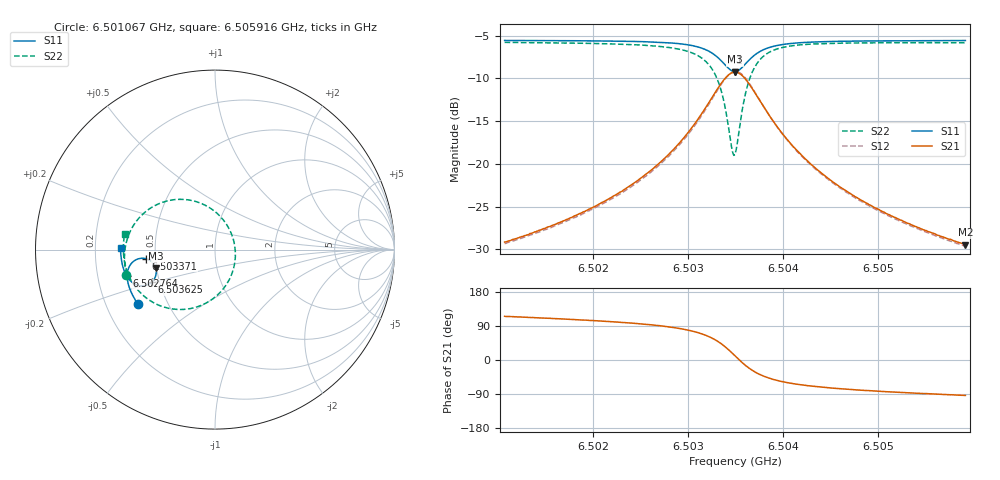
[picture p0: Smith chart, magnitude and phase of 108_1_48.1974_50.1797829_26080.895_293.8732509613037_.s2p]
#  HZ  S  RI  R  50.00
! Rohde & Schwarz Vector Network Analyzer
! Rohde-Schwarz,ZNB20-2Port,1311601062101988,3.16
! Created: UTC 3/20/2024, 11:40:52 AM
! freq[Hz]  re:S11  im:S11  re:S21  im:S21  re:S12  im:S12  re:S22  im:S22
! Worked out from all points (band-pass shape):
!   401 points, 6.501067 GHz to 6.505916 GHz, reference 50 ohm
!   highest |S21| = -9.28 dB at 6.503492 GHz (marker M1); lowest = -29.5 dB at 6.505916 GHz (marker M2)
!   |S21| within 3 dB of the highest: 6.503249 GHz to 6.503734 GHz (485.4 kHz wide, 0.00746 % of centre)
!   lowest |S11| = -9.2 dB at 6.503492 GHz (marker M3), VSWR 2.06, Z = 24.7 - j5.79 ohm
!   |S11| at or under -10 dB: nowhere
!   |S22| runs from -19.0 to -5.8 dB; largest |S21 - S12| = 0.012
!   S11 on the Smith chart (normalised r, x): 6.501067 GHz: 0.34, -0.28; 6.502764 GHz: 0.33, -0.13; 6.503371 GHz: 0.44, -0.05; 6.503625 GHz: 0.45, -0.19; 6.505916 GHz: 0.31, +0.01
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6.5010671e9  -0.4316 -0.3017  -0.0149 0.0315  -0.0131 0.0316  -0.4932 -0.1425
6.5018794e9  -0.4658 -0.2404  -0.014 0.0498  -0.0116 0.0492  -0.5042 -0.0539
6.5023158e9  -0.4807 -0.201  -0.0108 0.0693  -0.00788 0.0681  -0.5 0.0101
6.5026916e9  -0.4891 -0.1584  -0.00117 0.1005  0.00252 0.0979  -0.4783 0.0882
6.5027644e9  -0.4894 -0.1484  0.00296 0.1095  0.00673 0.1066  -0.4694 0.1077
6.5029705e9  -0.4856 -0.115  0.0247 0.1436  0.0285 0.1392  -0.4238 0.1757
6.5031281e9  -0.4705 -0.0827  0.0649 0.1801  0.0677 0.1742  -0.3455 0.2396
6.5032735e9  -0.4319 -0.0531  0.1482 0.2089  0.1488 0.2025  -0.1936 0.2801
6.503322e9  -0.4104 -0.0483  0.1914 0.2073  0.1914 0.2015  -0.1178 0.2709
6.5033705e9  -0.3847 -0.0505  0.241 0.1914  0.241 0.1867  -0.0329 0.235
6.5034554e9  -0.3415 -0.0805  0.3198 0.1153  0.3224 0.1108  0.0929 0.0845
6.5034918e9  -0.3306 -0.1031  0.3374 0.0657  0.3411 0.0599  0.1131 -0.0088
6.503516e9  -0.3276 -0.1195  0.3407 0.0305  0.3447 0.0235  0.1102 -0.0733
6.5035524e9  -0.33 -0.144  0.3329 -0.0202  0.3363 -0.0295  0.0816 -0.1631
6.5036251e9  -0.3526 -0.1813  0.2851 -0.0973  0.2848 -0.109  -0.0309 -0.2872
6.5037221e9  -0.3941 -0.2011  0.2058 -0.1408  0.2007 -0.1511  -0.1927 -0.3338
6.5038797e9  -0.4437 -0.1936  0.1166 -0.1399  0.1094 -0.1455  -0.3547 -0.2887
6.5040616e9  -0.4746 -0.1708  0.066 -0.1173  0.0594 -0.1195  -0.437 -0.2161
6.504304e9  -0.4956 -0.141  0.035 -0.0915  0.03 -0.0922  -0.4816 -0.1419
6.5046799e9  -0.5117 -0.101  0.015 -0.0667  0.0116 -0.0663  -0.5047 -0.0639
6.5051163e9  -0.5208 -0.0602  0.00524 -0.0501  0.00283 -0.0493  -0.5107 -2.72e-05
6.5059164e9  -0.5261 0.00821  -0.00208 -0.0336  -0.00331 -0.0328  -0.5034 0.0869
